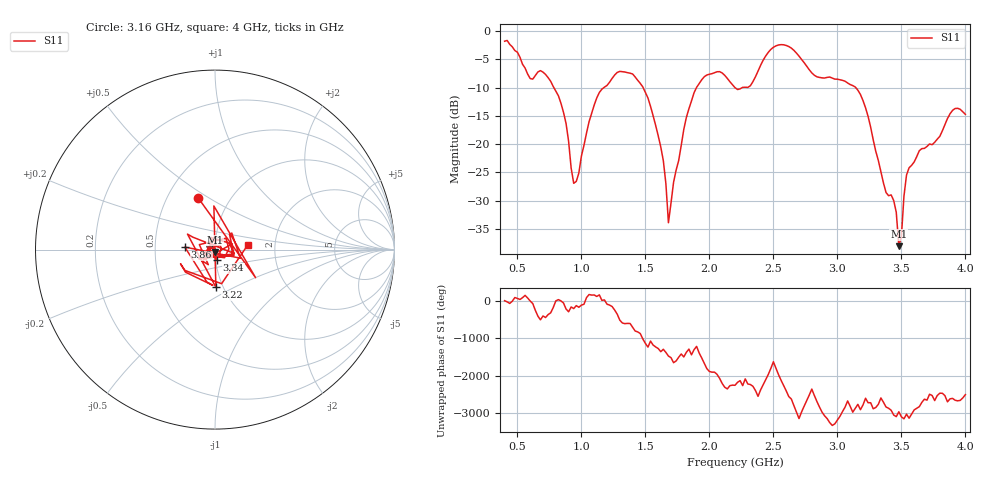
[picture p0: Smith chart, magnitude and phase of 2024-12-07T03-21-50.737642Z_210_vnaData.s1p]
!Created with skrf (http://scikit-rf.org).
# Hz S RI R 50.0
!freq ReS11 ImS11
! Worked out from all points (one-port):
!   181 points, 400 MHz to 4 GHz, reference 50 ohm
!   lowest |S11| = -38.0 dB at 3.48 GHz (marker M1), VSWR 1.03, Z = 50 - j1.25 ohm
!   |S11| at or under -10 dB: 785 MHz to 1.175 GHz (390 MHz wide, 39.8 % of centre); 1.483 GHz to 1.899 GHz (416.3 MHz wide, 24.6 % of centre); 3.144 GHz to end of sweep (the widest 3 of 4)
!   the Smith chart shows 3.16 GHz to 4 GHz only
!   S11 on the Smith chart (normalised r, x): 3.16 GHz: 0.71, +0.45; 3.22 GHz: 0.92, -0.41; 3.34 GHz: 1.01, -0.11; 3.86 GHz: 0.71, +0.02; 4 GHz: 1.44, +0.08
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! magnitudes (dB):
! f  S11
! 400 MHz  -1.8
! 600 MHz  -8.4
! 720 MHz  -7.7
! 860 MHz  -14.4
! 940 MHz  -26.9
! 1.12 GHz  -11.8
! 1.3 GHz  -7.1
! 1.52 GHz  -11.8
! 1.64 GHz  -22.9
! 1.68 GHz  -33.9
! 1.76 GHz  -22.9
! 1.82 GHz  -15.3
! 1.94 GHz  -8.6
! 2.2 GHz  -10.0
! 2.32 GHz  -9.7
! 2.5 GHz  -2.9
! 2.66 GHz  -3.4
! 2.82 GHz  -7.8
! 3.1 GHz  -9.5
! 3.16 GHz  -10.5
! 3.22 GHz  -13.6
! 3.34 GHz  -24.9
! 3.44 GHz  -30.0
! 3.48 GHz  -38.0
! 3.54 GHz  -25.4
! 3.56 GHz  -24.2
! 3.86 GHz  -15.5
! 4 GHz  -14.7
